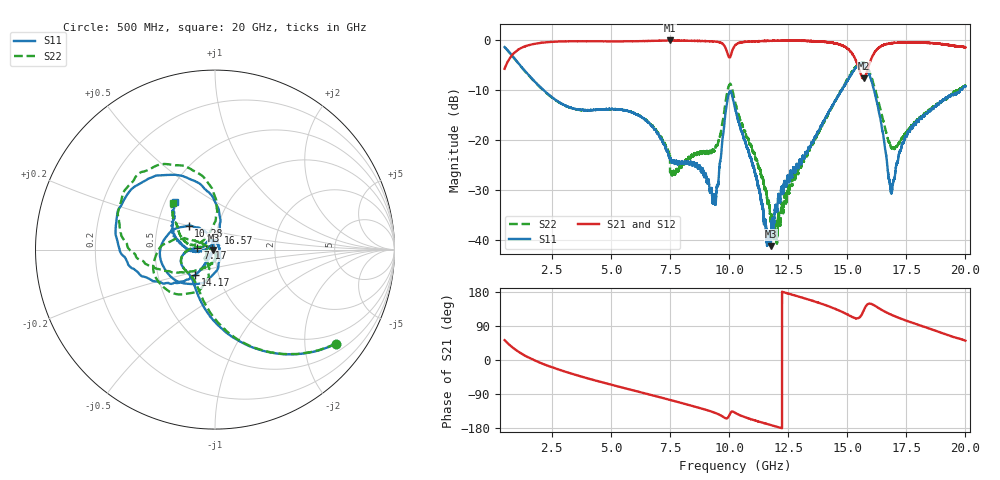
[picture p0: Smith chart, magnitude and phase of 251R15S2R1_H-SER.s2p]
!{251R15S2R1}
!Johanson Technology Inc.
!www.johansontechnology.com
!Test Board Conditions:
!Substrate Type  RO4350B
!Substrate Thickness  20 mil
!Substrate Dk  3.66
!TL Type: GCPW
!TL Trace Width  34 mil
!TL Gap  10 mil
!Electrode orientation  Horizontal
!DUT TOPOLOGY	SERIES
!Mounting Pad LxW  26x52 mil
! Created Thu Mar 12 16:38:11 2020
# mhz S ma R 50
! 2 Port Network Data from SP1.SP block
! freq  magS11  angS11  magS21  angS21  magS12  angS12  magS22  angS22
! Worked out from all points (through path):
!   19501 points, 500 MHz to 20 GHz, reference 50 ohm
!   highest |S21| = -0.05 dB at 7.487 GHz (marker M1); lowest = -7.6 dB at 15.71 GHz (marker M2)
!   group delay of S21, straight-line fit = 45.5 ps
!   lowest |S11| = -41.3 dB at 11.76 GHz (marker M3), VSWR 1.02, Z = 49.2 - j0.192 ohm
!   |S11| at or under -10 dB: 2.146 GHz to 14.77 GHz (12.62 GHz wide, 149 % of centre); 16.13 GHz to 19.78 GHz (3.649 GHz wide, 20.3 % of centre)
!   |S22| runs from -41.0 to -1.4 dB; largest |S21 - S12| = 0.019
!   S11 on the Smith chart (normalised r, x): 500 MHz: 0.71, -2.75; 7.17 GHz: 0.82, +0.02; 10.28 GHz: 0.72, +0.20; 14.17 GHz: 0.77, -0.23; 16.57 GHz: 1.02, +0.19; 20 GHz: 0.57, +0.34
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500  0.8542 -37.9  0.5168 52.3  0.5186 52.3  0.8516 -37.9
1702  0.4015 -90.4  0.9126 0.9  0.9136 1.0  0.3989 -88.6
3750  0.1998 -134.5  0.9758 -43.7  0.9765 -43.7  0.1992 -130.8
7000  0.1153 175.7  0.9883 -97.1  0.989 -97.1  0.1182 174.3
7170  0.09821 174.0  0.9896 -99.9  0.9887 -99.9  0.1019 172.5
7487  0.06567 167.6  0.9942 -105.1  0.9932 -105.1  0.07102 167.0
8691  0.05262 87.8  0.9818 -125.6  0.9825 -125.6  0.07434 -137.5
9373  0.02721 16.0  0.9743 -138.7  0.973 -138.8  0.07651 -123.7
9954  0.27 -137.9  0.7081 -151.8  0.7085 -151.7  0.3306 -131.5
10250  0.2076 141.1  0.888 -139.2  0.8888 -139.3  0.2404 167.1
10275  0.1977 137.6  0.9001 -140.1  0.9005 -140.2  0.2295 165.1
11759  0.008617 -166.9  0.9875 -171.6  0.988 -171.4  0.01591 178.6
11962  0.02163 -135.5  0.9872 -175.2  0.9859 -175.1  0.01604 -123.7
13500  0.09455 -123.9  0.9781 156.8  0.983 156.9  0.0906 -107.0
14169  0.1817 -128.2  0.9568 142.7  0.9587 142.6  0.1761 -136.7
15086  0.4212 -158.9  0.7971 117.3  0.793 117.1  0.4392 -174.2
15707  0.5696 141.9  0.415 132.1  0.4166 131.4  0.5879 132.5
16119  0.3246 96.9  0.7282 145.3  0.7319 145.1  0.3579 94.5
16569  0.09345 78.8  0.9014 128.4  0.898 128.6  0.1417 92.8
16750  0.0426 91.8  0.9273 122.9  0.9216 122.8  0.09665 107.0
18228  0.1743 174.9  0.9411 88.3  0.9398 87.5  0.1784 164.1
20000  0.3443 129.8  0.8485 51.0  0.8468 51.1  0.3495 132.6
